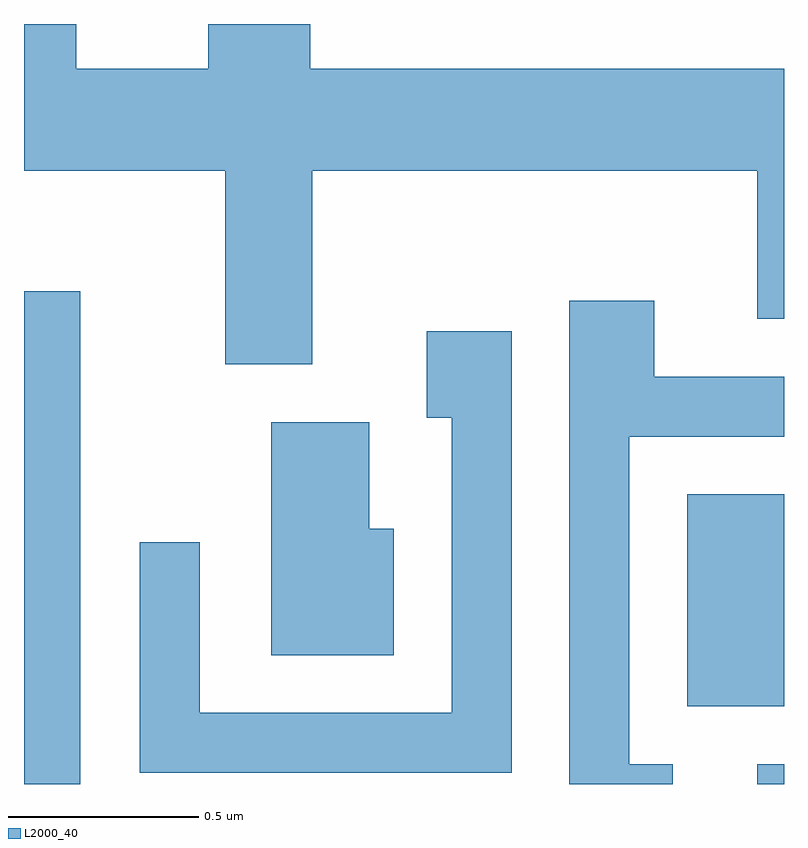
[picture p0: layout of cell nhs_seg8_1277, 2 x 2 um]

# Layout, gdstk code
import gdstk
lib = gdstk.Library(unit=1e-6, precision=1e-09)
def R(c, l, rs):  # rectangles x0, y0, x1, y1
    for r in rs: c.add(gdstk.rectangle(r[:2], r[2:], *l))
def P(c, l, *ps):  # polygons
    for p in ps: c.add(gdstk.Polygon(p, *l))
L2000_40 = (2000, 40)

nhs_seg8_1277 = lib.new_cell('nhs_seg8_1277')
R(nhs_seg8_1277, L2000_40, [(194.611,1850.342,194.759,1851.639), (196.541,1850.342,196.611,1850.394), (196.356,1850.546,196.611,1851.104)])
P(nhs_seg8_1277, L2000_40, [(195.369,1851.956),(196.541,1851.956),(196.541,1851.566),(196.611,1851.566),(196.611,1852.224),(195.364,1852.224),(195.364,1852.342),(195.096,1852.342),(195.096,1852.224),(194.749,1852.224),(194.749,1852.342),(194.611,1852.342),(194.611,1851.956),(195.141,1851.956),(195.141,1851.446),(195.369,1851.446)],
  [(196.318,1850.394),(196.204,1850.394),(196.204,1851.256),(196.611,1851.256),(196.611,1851.414),(196.269,1851.414),(196.269,1851.614),(196.046,1851.614),(196.046,1850.342),(196.318,1850.342)],
  [(195.894,1851.534),(195.671,1851.534),(195.671,1851.306),(195.736,1851.306),(195.736,1850.529),(195.074,1850.529),(195.074,1850.978),(194.916,1850.978),(194.916,1850.371),(195.894,1850.371)],
  [(195.584,1851.014),(195.519,1851.014),(195.519,1851.294),(195.261,1851.294),(195.261,1850.681),(195.584,1850.681)])

lib.write_gds('nhs_seg8_1277.gds')
